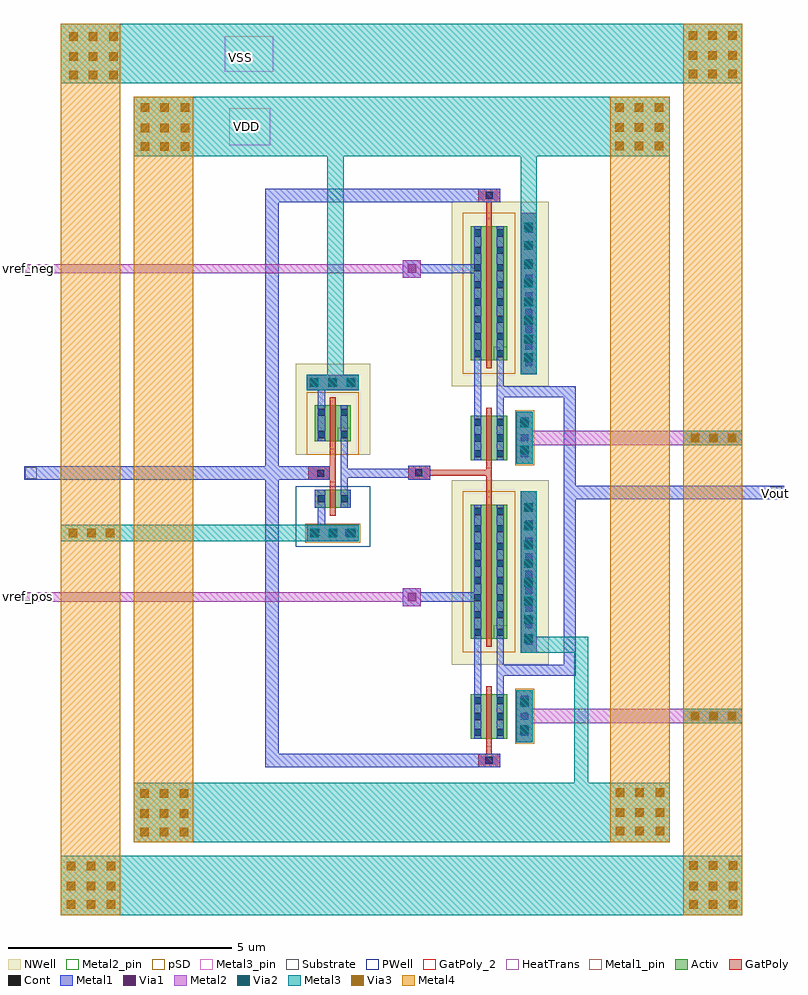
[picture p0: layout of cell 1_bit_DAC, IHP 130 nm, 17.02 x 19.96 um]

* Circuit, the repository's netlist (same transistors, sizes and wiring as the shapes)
* Extracted by KLayout with SG13G2 LVS runset on : 18/05/2026 11:13

.SUBCKT 1_bit_DAC VSS VDD Vin Vout vref_pos vref_neg
M$1 vref_pos Vin Vout VSS sg13_lv_nmos L=0.13u W=1u AS=0.34p AD=0.34p PS=2.68u
+ PD=2.68u
M$2 VSS Vin \$8 VSS sg13_lv_nmos L=0.13u W=0.4u AS=0.136p AD=0.136p PS=1.48u
+ PD=1.48u
M$3 vref_neg \$8 Vout VSS sg13_lv_nmos L=0.13u W=1u AS=0.34p AD=0.34p PS=2.68u
+ PD=2.68u
M$4 vref_pos \$8 Vout VDD sg13_lv_pmos L=0.13u W=3u AS=1.02p AD=1.02p PS=6.68u
+ PD=6.68u
M$5 VDD Vin \$8 VDD sg13_lv_pmos L=0.13u W=0.8u AS=0.272p AD=0.272p PS=2.28u
+ PD=2.28u
M$6 vref_neg Vin Vout VDD sg13_lv_pmos L=0.13u W=3u AS=1.02p AD=1.02p PS=6.68u
+ PD=6.68u
.ENDS 1_bit_DAC

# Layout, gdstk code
import gdstk
lib = gdstk.Library(unit=1e-6, precision=1e-09)
def R(c, l, rs):  # rectangles x0, y0, x1, y1
    for r in rs: c.add(gdstk.rectangle(r[:2], r[2:], *l))
def A(c, l, x, y, w, h, nx, ny, dx, dy):  # array of equal rectangles
    R(c, l, [(x+i*dx, y+j*dy, x+i*dx+w, y+j*dy+h) for i in range(nx) for j in range(ny)])
def P(c, l, *ps):  # polygons
    for p in ps: c.add(gdstk.Polygon(p, *l))
Activ = (1, 0)
GatPoly = (5, 0)
GatPoly_2 = (5, 2)
Cont = (6, 0)
Metal1 = (8, 0)
Metal1_pin = (8, 2)
Metal2 = (10, 0)
Metal2_pin = (10, 2)
pSD = (14, 0)
Via1 = (19, 0)
Via2 = (29, 0)
Metal3 = (30, 0)
Metal3_pin = (30, 2)
NWell = (31, 0)
Substrate = (40, 0)
PWell = (46, 0)
Via3 = (49, 0)
Metal4 = (50, 0)
HeatTrans = (51, 0)

pmos_2 = lib.new_cell('pmos$2')
R(pmos_2, Activ, [(0,0,0.3,0.3), (0,0,0.81,3), (0.51,0,0.81,0.3)])
R(pmos_2, GatPoly, [(0.34,-0.18,0.47,3.18), (0.34,-0.18,0.47,3.18)])
A(pmos_2, Cont, 0.07, 0.07, 0.16, 0.16, 1, 7, 0, 0.385)
A(pmos_2, Cont, 0.58, 0.07, 0.16, 0.16, 1, 7, 0, 0.385)
R(pmos_2, Cont, [(0.07,2.77,0.23,2.93), (0.58,2.77,0.74,2.93)])
R(pmos_2, Metal1, [(0.07,0,0.23,3), (0.07,0,0.23,3), (0.58,0,0.74,3), (0.58,0,0.74,3)])
R(pmos_2, pSD, [(-0.18,-0.3,0.99,3.3)])
R(pmos_2, NWell, [(-0.31,-0.31,1.12,3.31)])
R(pmos_2, Substrate, [(0.51,0,0.81,0.3)])
R(pmos_2, HeatTrans, [(0.34,-0.18,0.47,3.18)])
pmos_2.add(gdstk.Label('pmos', (0.405,1.5), layer=63, texttype=0))
pmos_2.add(gdstk.Label('pmos', (0.405,1.5), layer=51, texttype=0))

pmos = lib.new_cell('pmos')
R(pmos, Activ, [(0.355,-1.565,0.655,-1.265), (0.355,-1.565,1.165,-0.765), (0.865,-1.565,1.165,-1.265)])
R(pmos, GatPoly, [(0.695,-1.745,0.825,-0.585), (0.695,-1.745,0.825,-0.585)])
R(pmos, Cont, [(0.425,-1.495,0.585,-1.335), (0.935,-1.495,1.095,-1.335), (0.425,-0.995,0.585,-0.835), (0.935,-0.995,1.095,-0.835)])
R(pmos, Metal1, [(0.425,-1.565,0.585,-0.765), (0.425,-1.565,0.585,-0.765), (0.935,-1.565,1.095,-0.765), (0.935,-1.565,1.095,-0.765)])
R(pmos, pSD, [(0.175,-1.865,1.345,-0.465)])
R(pmos, NWell, [(0.045,-1.875,1.475,-0.455)])
R(pmos, Substrate, [(0.865,-1.565,1.165,-1.265)])
R(pmos, HeatTrans, [(0.695,-1.745,0.825,-0.585)])
pmos.add(gdstk.Label('pmos', (0.76,-1.165), layer=63, texttype=0))
pmos.add(gdstk.Label('pmos', (0.76,-1.165), layer=51, texttype=0))

nmos_1 = lib.new_cell('nmos$1')
R(nmos_1, Activ, [(0.355,-1.565,0.655,-1.265), (0.355,-1.565,1.165,-1.165), (0.865,-1.565,1.165,-1.265)])
R(nmos_1, GatPoly, [(0.695,-1.745,0.825,-0.985)])
R(nmos_1, GatPoly_2, [(0.695,-1.745,0.825,-0.985)])
R(nmos_1, Cont, [(0.425,-1.445,0.585,-1.285), (0.935,-1.445,1.095,-1.285)])
R(nmos_1, Metal1, [(0.425,-1.565,0.585,-1.165), (0.935,-1.565,1.095,-1.165)])
R(nmos_1, Metal1_pin, [(0.425,-1.565,0.585,-1.165), (0.935,-1.565,1.095,-1.165)])
R(nmos_1, HeatTrans, [(0.695,-1.745,0.825,-0.985)])
nmos_1.add(gdstk.Label('nmos', (0.76,-1.365), layer=63, texttype=0))
nmos_1.add(gdstk.Label('nmos', (0.76,-1.365), layer=51, texttype=0))

inverter = lib.new_cell('inverter')
R(inverter, Activ, [(-0.265,-3.49,0.9,-3.125), (-0.265,-0.115,0.905,0.24)])
R(inverter, GatPoly, [(0.255,-2.92,0.385,-0.27), (-0.235,-2.115,0.34,-1.81)])
R(inverter, Cont, [(-0.145,-3.385,0.015,-3.225), (0.24,-3.385,0.4,-3.225), (0.595,-3.385,0.755,-3.225), (-0.035,-2.045,0.125,-1.885), (-0.185,-0.015,-0.025,0.145), (0.23,-0.015,0.39,0.145), (0.635,-0.015,0.795,0.145)])
R(inverter, Metal1, [(-0.265,-3.49,0.9,-3.125), (-0.015,-3.33,0.145,-2.565), (-0.085,-2.74,0.145,-2.34), (0.495,-2.74,0.725,-2.34), (0.495,-2.74,0.655,-0.45), (-0.235,-2.115,0.255,-1.81), (0.495,-2.065,1.105,-1.865), (-0.015,-0.54,0.145,0.24), (-0.265,-0.115,0.905,0.24)])
R(inverter, pSD, [(-0.295,-3.525,0.93,-3.095)])
R(inverter, NWell, [(-0.515,-1.56,1.16,0.485)])
R(inverter, PWell, [(-0.515,-3.615,1.155,-2.265)])
inverter.add(gdstk.Reference(pmos, (-0.44,0.315)))
inverter.add(gdstk.Reference(nmos_1, (-0.44,-1.175)))
inverter.add(gdstk.Label('Vin', (-6.46,-1.98), layer=8, texttype=25))

nmos_2 = lib.new_cell('nmos$2')
R(nmos_2, Activ, [(0,0,0.3,0.3), (0,0,0.81,1), (0.51,0,0.81,0.3)])
R(nmos_2, GatPoly, [(0.34,-0.18,0.47,1.18)])
R(nmos_2, GatPoly_2, [(0.34,-0.18,0.47,1.18)])
A(nmos_2, Cont, 0.07, 0.07, 0.16, 0.16, 1, 3, 0, 0.35)
A(nmos_2, Cont, 0.58, 0.07, 0.16, 0.16, 1, 3, 0, 0.35)
R(nmos_2, Metal1, [(0.07,0,0.23,1), (0.58,0,0.74,1)])
R(nmos_2, Metal1_pin, [(0.07,0,0.23,1), (0.58,0,0.74,1)])
R(nmos_2, HeatTrans, [(0.34,-0.18,0.47,1.18)])
nmos_2.add(gdstk.Label('nmos', (0.405,0.5), layer=63, texttype=0))
nmos_2.add(gdstk.Label('nmos', (0.405,0.5), layer=51, texttype=0))

c_1_bit_dac = lib.new_cell('1_bit_DAC')
R(c_1_bit_dac, Activ, [(1.02,-9.245,1.385,-8.08), (1.02,-9.245,1.385,-8.08), (1.12,-7.24,1.47,-3.63), (1.12,-7.24,1.47,-3.63), (1.02,-3.01,1.385,-1.845), (1.12,-1.005,1.47,2.605)])
R(c_1_bit_dac, GatPoly, [(0.165,-9.805,0.655,-9.5), (0.34,-9.63,0.47,-9.325), (0.34,-4.57,0.47,-3.75), (0.34,-3.845,0.47,-3.03), (-1.405,-3.365,-0.915,-3.06), (-1.17,-3.28,0.47,-3.145), (0.34,1.665,0.47,2.485), (0.34,2.44,0.47,2.85), (0.17,2.845,0.66,3.15)])
A(c_1_bit_dac, Cont, 1.215, -0.825, 0.16, 0.16, 1, 3, 0, 0.37)
R(c_1_bit_dac, Cont, [(0.325,-9.73,0.485,-9.57), (1.12,-9.1,1.28,-8.94), (1.12,-9.1,1.28,-8.94), (1.12,-8.745,1.28,-8.585), (1.12,-8.745,1.28,-8.585), (1.12,-8.36,1.28,-8.2), (1.12,-8.36,1.28,-8.2), (1.215,-7.06,1.375,-6.9), (1.215,-7.06,1.375,-6.9), (1.215,-6.69,1.375,-6.53), (1.215,-6.69,1.375,-6.53), (1.215,-6.32,1.375,-6.16), (1.215,-6.32,1.375,-6.16), (1.215,-5.935,1.375,-5.775), (1.215,-5.935,1.375,-5.775), (1.215,-5.565,1.375,-5.405), (1.215,-5.565,1.375,-5.405), (1.215,-5.18,1.375,-5.02), (1.215,-5.18,1.375,-5.02), (1.215,-4.825,1.375,-4.665), (1.215,-4.825,1.375,-4.665), (1.215,-4.44,1.375,-4.28), (1.215,-4.44,1.375,-4.28), (1.215,-4.07,1.375,-3.91), (1.215,-4.07,1.375,-3.91), (-1.25,-3.295,-1.09,-3.135), (1.12,-2.865,1.28,-2.705), (1.12,-2.51,1.28,-2.35), (1.12,-2.125,1.28,-1.965), (1.215,0.3,1.375,0.46), (1.215,0.67,1.375,0.83), (1.215,1.055,1.375,1.215), (1.215,1.41,1.375,1.57), (1.215,1.795,1.375,1.955), (1.215,2.165,1.375,2.325), (0.33,2.92,0.49,3.08)])
R(c_1_bit_dac, Metal1, [(0.165,-9.805,0.655,-9.5), (1.02,-9.245,1.385,-8.08), (1.02,-9.245,1.385,-8.08), (0.07,-8.24,0.23,-6.86), (0.58,-8.24,0.74,-6.86), (0.58,-7.755,2.345,-7.51), (2.08,-7.755,2.345,-1.275), (1.12,-7.24,1.47,-3.63), (1.12,-7.24,1.47,-3.63), (-1.52,-6.2,-1.125,-5.8), (-1.44,-6.1,0.23,-5.89), (2.08,-3.81,7.01,-3.5), (-10.005,-3.37,-4.305,-3.065), (-4.605,-3.37,-3.505,-3.065), (-1.405,-3.365,-0.915,-3.06), (-2.315,-3.32,-1.28,-3.12), (1.02,-3.01,1.385,-1.845), (0.07,-2.005,0.23,-0.625), (0.58,-2.005,0.74,-0.625), (0.58,-1.52,2.345,-1.275), (1.12,-1.005,1.47,2.605), (-1.52,1.15,-1.125,1.55), (-1.44,1.25,0.23,1.46), (0.17,2.845,0.66,3.15)])
P(c_1_bit_dac, Metal1, [(-4.605,-9.805),(-4.605,-3.065),(-4.305,-3.065),(-4.305,-9.5),(0.655,-9.5),(0.655,-9.805)],
  [(-4.605,-3.37),(-4.605,3.15),(0.66,3.15),(0.66,2.845),(-4.305,2.845),(-4.305,-3.37)])
R(c_1_bit_dac, Metal1_pin, [(6.705,-3.785,6.96,-3.525), (-9.98,-3.35,-9.725,-3.09)])
R(c_1_bit_dac, Metal2, [(1.02,-9.245,1.385,-8.08), (1.02,-9.245,1.385,-8.08), (1.02,-8.825,6.08,-8.495), (1.12,-7.24,1.47,-3.63), (-1.52,-6.2,-1.125,-5.8), (-10,-6.1,-1.125,-5.89), (-3.675,-4.745,-2.51,-4.38), (1.02,-3.01,1.385,-1.845), (1.02,-3.01,1.385,-1.845), (1.02,-2.6,6.08,-2.27), (-3.675,-1.37,-2.505,-1.015), (1.12,-1.005,1.47,2.605), (-1.52,1.15,-1.125,1.55), (-10,1.25,-1.125,1.46)])
R(c_1_bit_dac, Metal2_pin, [(-9.995,-6.085,-9.82,-5.9), (-9.99,1.26,-9.815,1.445)])
R(c_1_bit_dac, pSD, [(0.99,-9.275,1.42,-8.05), (0.99,-3.04,1.42,-1.815)])
A(c_1_bit_dac, Via1, 1.2, -6.595, 0.19, 0.19, 1, 3, 0, 0.415)
A(c_1_bit_dac, Via1, 1.2, -5.345, 0.19, 0.19, 1, 3, 0, 0.42)
A(c_1_bit_dac, Via1, -3.6, -4.655, 0.19, 0.19, 3, 1, 0.415, 0)
A(c_1_bit_dac, Via1, -3.61, -1.285, 0.19, 0.19, 3, 1, 0.415, 0)
A(c_1_bit_dac, Via1, 1.2, -0.31, 0.19, 0.19, 1, 3, 0, 0.415)
A(c_1_bit_dac, Via1, 1.2, 0.94, 0.19, 0.19, 1, 3, 0, 0.42)
R(c_1_bit_dac, Via1, [(1.11,-9.06,1.3,-8.87), (1.11,-9.06,1.3,-8.87), (1.11,-8.45,1.3,-8.26), (1.11,-8.45,1.3,-8.26), (1.2,-7.015,1.39,-6.825), (-1.41,-6.09,-1.22,-5.9), (1.2,-4.09,1.39,-3.9), (1.105,-2.8,1.295,-2.61), (1.105,-2.8,1.295,-2.61), (1.105,-2.19,1.295,-2), (1.105,-2.19,1.295,-2), (1.2,-0.73,1.39,-0.54), (-1.41,1.26,-1.22,1.45), (1.2,2.195,1.39,2.385)])
A(c_1_bit_dac, Via2, 4.925, -8.755, 0.19, 0.19, 3, 2, 0.415, 6.225)
A(c_1_bit_dac, Via2, 1.2, -6.595, 0.19, 0.19, 1, 3, 0, 0.415)
A(c_1_bit_dac, Via2, 1.2, -5.345, 0.19, 0.19, 1, 3, 0, 0.42)
A(c_1_bit_dac, Via2, -3.6, -4.655, 0.19, 0.19, 3, 1, 0.415, 0)
A(c_1_bit_dac, Via2, -3.61, -1.285, 0.19, 0.19, 3, 1, 0.415, 0)
A(c_1_bit_dac, Via2, 1.2, -0.31, 0.19, 0.19, 1, 3, 0, 0.415)
A(c_1_bit_dac, Via2, 1.2, 0.94, 0.19, 0.19, 1, 3, 0, 0.42)
R(c_1_bit_dac, Via2, [(1.11,-9.06,1.3,-8.87), (1.11,-9.06,1.3,-8.87), (1.11,-8.45,1.3,-8.26), (1.11,-8.45,1.3,-8.26), (1.2,-7.015,1.39,-6.825), (1.2,-4.09,1.39,-3.9), (1.105,-2.8,1.295,-2.61), (1.105,-2.8,1.295,-2.61), (1.105,-2.19,1.295,-2), (1.105,-2.19,1.295,-2), (1.2,-0.73,1.39,-0.54), (1.2,2.195,1.39,2.385)])
R(c_1_bit_dac, Metal3, [(-9.18,-13.12,6.08,-11.79), (-7.55,-11.48,4.45,-10.15), (2.315,-11.48,2.625,-6.89), (1.02,-9.245,1.385,-8.08), (4.75,-8.825,6.08,-8.495), (1.12,-7.24,1.47,-3.63), (1.12,-7.24,2.625,-6.89), (-9.18,-4.745,-2.51,-4.38), (-3.675,-4.745,-2.51,-4.38), (1.02,-3.01,1.385,-1.845), (4.75,-2.6,6.08,-2.27), (-3.675,-1.37,-2.505,-1.015), (-3.22,-1.37,-2.85,5.205), (1.12,-1.005,1.47,2.605), (1.12,2.385,1.47,5.205), (-7.55,3.875,4.45,5.205), (-9.18,5.51,6.08,6.84)])
R(c_1_bit_dac, Metal3_pin, [(-5.405,4.115,-4.49,4.95), (-5.505,5.765,-4.43,6.56)])
R(c_1_bit_dac, NWell, [(-0.43,-7.51,1.745,-3.385), (-0.43,-1.275,1.745,2.85)])
A(c_1_bit_dac, Via3, 4.925, -8.755, 0.19, 0.19, 3, 2, 0.415, 6.225)
A(c_1_bit_dac, Via3, -9, -4.655, 0.19, 0.19, 3, 1, 0.41, 0)
R(c_1_bit_dac, Via3, [(-9.045,-12.975,-8.855,-12.785), (-8.605,-12.975,-8.415,-12.785), (-8.155,-12.975,-7.965,-12.785), (4.885,-12.97,5.075,-12.78), (5.325,-12.97,5.515,-12.78), (5.775,-12.97,5.965,-12.78), (-9.045,-12.56,-8.855,-12.37), (-8.605,-12.56,-8.415,-12.37), (-8.155,-12.56,-7.965,-12.37), (4.885,-12.555,5.075,-12.365), (5.325,-12.555,5.515,-12.365), (5.775,-12.555,5.965,-12.365), (-9.045,-12.11,-8.855,-11.92), (-8.605,-12.11,-8.415,-11.92), (-8.155,-12.11,-7.965,-11.92), (4.885,-12.105,5.075,-11.915), (5.325,-12.105,5.515,-11.915), (5.775,-12.105,5.965,-11.915), (-7.405,-11.355,-7.215,-11.165), (-6.965,-11.355,-6.775,-11.165), (-6.515,-11.355,-6.325,-11.165), (3.245,-11.33,3.435,-11.14), (3.685,-11.33,3.875,-11.14), (4.135,-11.33,4.325,-11.14), (-7.405,-10.94,-7.215,-10.75), (-6.965,-10.94,-6.775,-10.75), (-6.515,-10.94,-6.325,-10.75), (3.245,-10.915,3.435,-10.725), (3.685,-10.915,3.875,-10.725), (4.135,-10.915,4.325,-10.725), (-7.405,-10.49,-7.215,-10.3), (-6.965,-10.49,-6.775,-10.3), (-6.515,-10.49,-6.325,-10.3), (3.245,-10.465,3.435,-10.275), (3.685,-10.465,3.875,-10.275), (4.135,-10.465,4.325,-10.275), (-7.39,4,-7.2,4.19), (-6.95,4,-6.76,4.19), (-6.5,4,-6.31,4.19), (3.23,4.005,3.42,4.195), (3.67,4.005,3.86,4.195), (4.12,4.005,4.31,4.195), (-7.39,4.415,-7.2,4.605), (-6.95,4.415,-6.76,4.605), (-6.5,4.415,-6.31,4.605), (3.23,4.42,3.42,4.61), (3.67,4.42,3.86,4.61), (4.12,4.42,4.31,4.61), (-7.39,4.865,-7.2,5.055), (-6.95,4.865,-6.76,5.055), (-6.5,4.865,-6.31,5.055), (3.23,4.87,3.42,5.06), (3.67,4.87,3.86,5.06), (4.12,4.87,4.31,5.06), (-8.99,5.595,-8.8,5.785), (-8.55,5.595,-8.36,5.785), (-8.1,5.595,-7.91,5.785), (4.875,5.615,5.065,5.805), (5.315,5.615,5.505,5.805), (5.765,5.615,5.955,5.805), (-8.99,6.01,-8.8,6.2), (-8.55,6.01,-8.36,6.2), (-8.1,6.01,-7.91,6.2), (4.875,6.03,5.065,6.22), (5.315,6.03,5.505,6.22), (5.765,6.03,5.955,6.22), (-8.99,6.46,-8.8,6.65), (-8.55,6.46,-8.36,6.65), (-8.1,6.46,-7.91,6.65), (4.875,6.48,5.065,6.67), (5.315,6.48,5.505,6.67), (5.765,6.48,5.955,6.67)])
R(c_1_bit_dac, Metal4, [(-9.18,-13.12,-7.85,6.84), (4.75,-13.12,6.08,6.84), (-7.55,-11.48,-6.22,5.205), (3.12,-11.48,4.45,5.205)])
c_1_bit_dac.add(gdstk.Reference(pmos_2, (0,-0.695)))
c_1_bit_dac.add(gdstk.Reference(inverter, (-3.41,-1.255)))
c_1_bit_dac.add(gdstk.Reference(nmos_2, (0,-2.935)))
c_1_bit_dac.add(gdstk.Reference(pmos_2, (0,-6.93)))
c_1_bit_dac.add(gdstk.Reference(nmos_2, (0,-9.17)))
c_1_bit_dac.add(gdstk.Label('Vout', (6.815,-3.67), layer=8, texttype=25))
c_1_bit_dac.add(gdstk.Label('VDD', (-5.03,4.53), layer=30, texttype=25))
c_1_bit_dac.add(gdstk.Label('VSS', (-5.165,6.08), layer=30, texttype=25))
c_1_bit_dac.add(gdstk.Label('vref_pos', (-9.955,-5.99), layer=10, texttype=25))
c_1_bit_dac.add(gdstk.Label('vref_neg', (-9.95,1.355), layer=10, texttype=25))

lib.write_gds('1_bit_DAC.gds')
